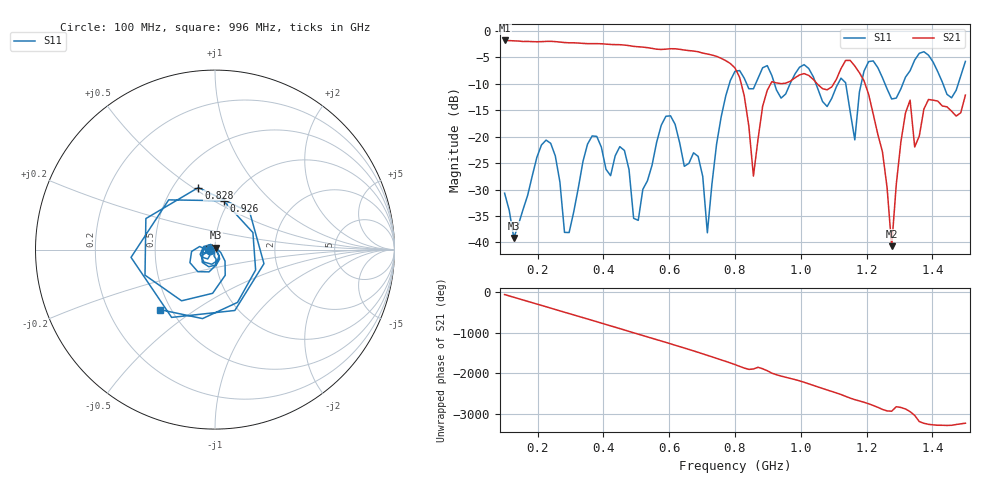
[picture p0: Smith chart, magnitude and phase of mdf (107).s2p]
! NanoVNA-App
! Date: 2025-09-25 17:41:48
! Start: 100MHz Stop: 1,5GHz Points: 101
! S-Parameter data: F S11 S21 S12 S22
# Hz S RI R 50
!  Frequency  S11_Real  S11_Imag  S21_Real  S21_Imag  S12_Real  S12_Imag  S22_Real  S22_Imag
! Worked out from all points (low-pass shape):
!   101 points, 100 MHz to 1.5 GHz, reference 50 ohm
!   highest |S21| = -1.80 dB at 100 MHz (marker M1); lowest = -40.7 dB at 1.276 GHz (marker M2)
!   |S21| within 3 dB of the highest: start of sweep to 743.6 MHz
!   lowest |S11| = -39.2 dB at 128 MHz (marker M3), VSWR 1.02, Z = 50.3 + j1.06 ohm
!   |S11| at or under -10 dB: start of sweep to 782.9 MHz; 1.046 GHz to 1.113 GHz (66.95 MHz wide, 6.2 % of centre); 1.256 GHz to 1.31 GHz (54.33 MHz wide, 4.23 % of centre)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
!   S12 and S22 are empty: the file has one direction only
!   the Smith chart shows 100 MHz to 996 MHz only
!   S11 on the Smith chart (normalised r, x): 100 MHz: 0.94, -0.01; 828 MHz: 0.66, +0.53; 926 MHz: 0.94, +0.56; 996 MHz: 0.44, -0.37
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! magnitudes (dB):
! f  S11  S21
! 100 MHz  -30.7  -1.8
! 128 MHz  -39.2  -1.9
! 212 MHz  -21.6  -2.0
! 282 MHz  -38.1  -2.2
! 338 MHz  -24.7  -2.4
! 464 MHz  -22.6  -2.7
! 506 MHz  -35.8  -3.0
! 576 MHz  -17.8  -3.5
! 688 MHz  -23.7  -3.9
! 716 MHz  -38.2  -4.4
! 800 MHz  -7.6  -7.0
! 828 MHz  -8.9  -12.2
! 856 MHz  -10.9  -27.5
! 926 MHz  -11.2  -9.8
! 996 MHz  -6.9  -8.3
! 1.038 GHz  -8.7  -9.2
! 1.164 GHz  -20.6  -6.6
! 1.192 GHz  -7.6  -9.4
! 1.276 GHz  -12.9  -40.7
! 1.332 GHz  -7.5  -13.1
! 1.346 GHz  -5.5  -21.9
! 1.5 GHz  -5.8  -12.1
